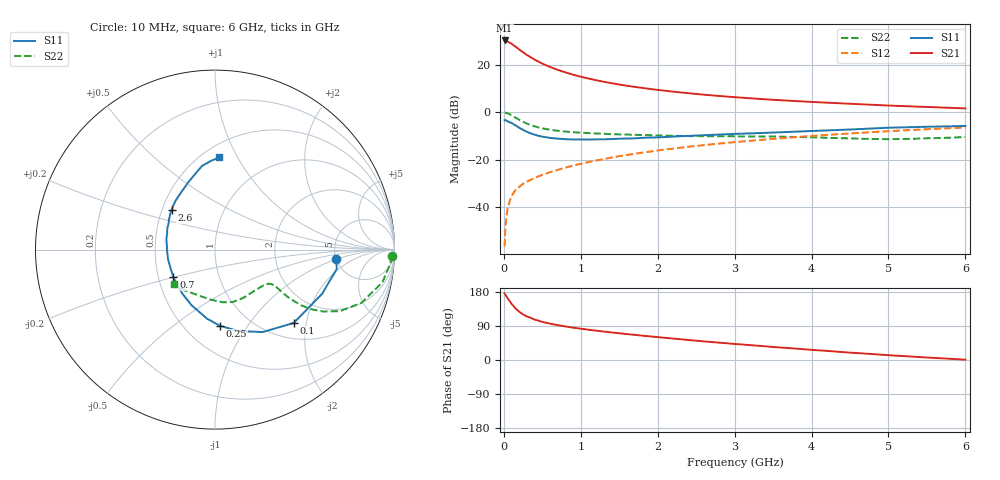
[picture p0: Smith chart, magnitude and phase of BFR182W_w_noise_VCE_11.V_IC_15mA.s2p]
! Infineon Technologies  Discrete & RF Semiconductors
! BFR182W
! VCE =  11. V,  IC =  15 mA
! Common Emitter S-Parameters:  Jan 2017
# GHz  S  MA  R  50
!  f  S11  S21  S12  S22
! GHz  MAG  ANG  MAG  ANG  MAG  ANG  MAG  ANG
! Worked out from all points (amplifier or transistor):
!   77 points, 10 MHz to 6 GHz, reference 50 ohm
!   highest |S21| = 30.3 dB at 10 MHz (marker M1)
!   |S21| within 3 dB of that: start of sweep to 167.5 MHz
!   unconditionally stable (mu >= 1): 966.1 MHz to 2.526 GHz
!   at 130 MHz: K = 0.37, MSG = 31.0 dB, |S12| = -33.8 dB
!   at 2.2 GHz: K = 1.02, MAG = 11.2 dB, |S12| = -15.3 dB
!   at 6 GHz: K = 0.86, MSG = 4.0 dB, |S12| = -6.4 dB
!   lowest NFmin = 1.25 dB at 450 MHz
!   S11 on the Smith chart (normalised r, x): 10 MHz: 5.02, -0.94; 100 MHz: 1.33, -1.69; 250 MHz: 0.73, -0.75; 700 MHz: 0.60, -0.20; 2.6 GHz: 0.56, +0.28; 6 GHz: 0.60, +0.84
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0.01  0.6775 -4.3  32.59 175.3  0.0015 70.8  0.9857 -2.1
0.02  0.6871 -9.0  32.56 172.4  0.0038 85.1  0.9797 -4.6
0.05  0.6454 -22.5  31.01 162.7  0.0093 78.8  0.9502 -11.1
0.1  0.5994 -43.0  27.87 148.2  0.0169 70.3  0.867 -20.1
0.15  0.5306 -60.0  24.27 136.5  0.0227 66.9  0.7748 -26.3
0.2  0.4708 -74.3  21 127.4  0.0266 64.7  0.6934 -29.8
0.25  0.4248 -86.4  18.33 120.2  0.0311 62.5  0.6275 -31.9
0.3  0.3863 -96.9  16.06 114.8  0.0344 63.4  0.5739 -32.8
0.4  0.336 -113.0  12.83 106.6  0.0408 64.1  0.5025 -33.2
0.5  0.3056 -126.4  10.6 100.7  0.0478 63.8  0.457 -32.7
0.6  0.2878 -137.7  9.019 95.9  0.0545 65.1  0.4268 -32.1
0.7  0.2773 -146.7  7.823 92.0  0.0609 67.1  0.4063 -31.5
0.9  0.2666 -161.8  6.183 85.4  0.0749 67.7  0.3789 -31.3
1.1  0.2658 -174.2  5.136 80.0  0.089 68.7  0.363 -31.8
1.3  0.2682 176.1  4.383 75.0  0.1031 68.6  0.351 -33.0
1.5  0.2767 168.1  3.838 70.6  0.1182 68.2  0.3411 -34.9
2.1  0.3005 149.2  2.834 58.5  0.1635 66.1  0.3208 -43.9
2.6  0.3279 137.6  2.343 49.1  0.2022 63.3  0.3126 -53.8
3.1  0.3535 127.1  2.023 40.9  0.2419 59.8  0.3093 -63.7
4.1  0.4077 110.6  1.619 25.4  0.3239 51.8  0.2928 -83.8
5.1  0.4758 97.6  1.365 11.5  0.4059 42.7  0.2714 -113.0
6  0.514 87.5  1.205 0.9  0.4769 33.8  0.3002 -140.0
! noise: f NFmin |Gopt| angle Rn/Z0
0.45  1.25  0.04  146  0.15
0.9  1.33  0.05  146  0.15
1.9  1.82  0.24  -148  0.15
2.4  2.07  0.24  -133  0.22
